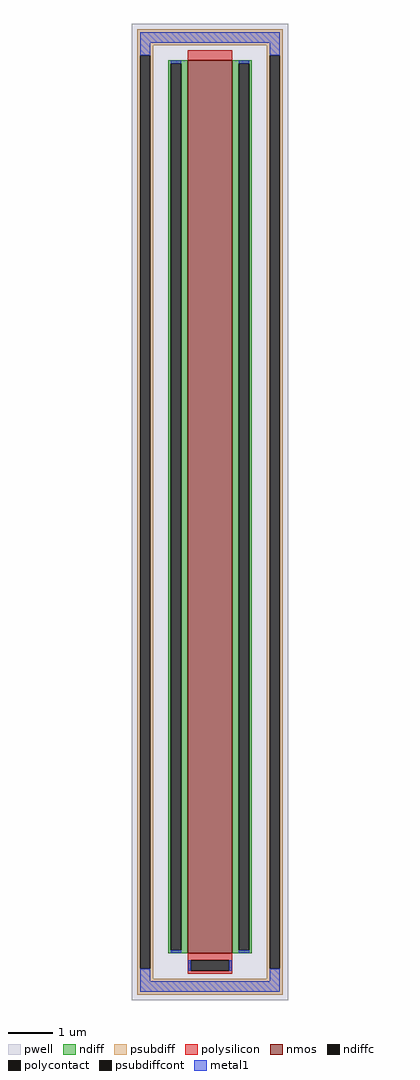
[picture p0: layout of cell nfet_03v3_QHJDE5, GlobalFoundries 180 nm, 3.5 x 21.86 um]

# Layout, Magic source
magic
tech gf180mcuD
magscale 1 10
<< pwell >>
rect -350 -2186 350 2186
<< nmos >>
rect -100 -1976 100 2024
<< ndiff >>
rect -188 2011 -100 2024
rect -188 -1963 -175 2011
rect -129 -1963 -100 2011
rect -188 -1976 -100 -1963
rect 100 2011 188 2024
rect 100 -1963 129 2011
rect 175 -1963 188 2011
rect 100 -1976 188 -1963
<< ndiffc >>
rect -175 -1963 -129 2011
rect 129 -1963 175 2011
<< psubdiff >>
rect -326 2090 326 2162
rect -326 2046 -254 2090
rect -326 -2046 -313 2046
rect -267 -2046 -254 2046
rect 254 2046 326 2090
rect -326 -2090 -254 -2046
rect 254 -2046 267 2046
rect 313 -2046 326 2046
rect 254 -2090 326 -2046
rect -326 -2162 326 -2090
<< psubdiffcont >>
rect -313 -2046 -267 2046
rect 267 -2046 313 2046
<< polysilicon >>
rect -100 2024 100 2068
rect -100 -2009 100 -1976
rect -100 -2055 -87 -2009
rect 87 -2055 100 -2009
rect -100 -2068 100 -2055
<< polycontact >>
rect -87 -2055 87 -2009
<< metal1 >>
rect -313 2103 313 2149
rect -313 2046 -267 2103
rect 267 2046 313 2103
rect -175 2011 -129 2022
rect -175 -1974 -129 -1963
rect 129 2011 175 2022
rect 129 -1974 175 -1963
rect -313 -2103 -267 -2046
rect -98 -2055 -87 -2009
rect 87 -2055 98 -2009
rect 267 -2103 313 -2046
rect -313 -2149 313 -2103
<< properties >>
string FIXED_BBOX -290 -2126 290 2126
string gencell nfet_03v3
string library gf180mcu
string parameters w 20 l 1 m 1 nf 1 diffcov 100 polycov 100 guard 1 glc 1 grc 1 gtc 0 gbc 0 tbcov 100 rlcov 100 topc 0 botc 1 poverlap 0 doverlap 1 lmin 0.28 wmin 0.22 class mosfet full_metal 1 compatible {nfet_03v3 nfet_05v0 nfet_06v0 nfet_06v0_nvt}
<< end >>
